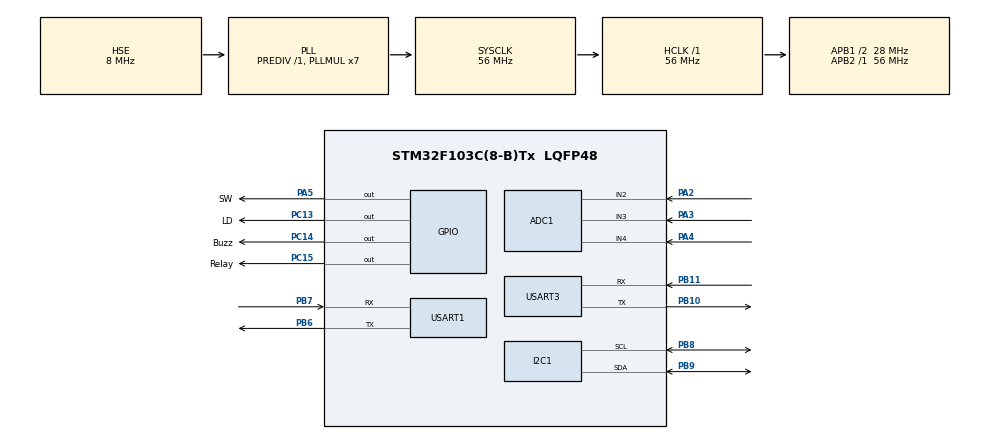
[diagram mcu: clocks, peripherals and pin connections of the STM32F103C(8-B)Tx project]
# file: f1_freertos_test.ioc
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ADC1.Channel-10\#ChannelRegularConversion=ADC_CHANNEL_4
ADC1.Channel-8\#ChannelRegularConversion=ADC_CHANNEL_2
ADC1.Channel-9\#ChannelRegularConversion=ADC_CHANNEL_3
ADC1.NbrOfConversion=3
ADC1.NbrOfConversionFlag=1
ADC1.Rank-10\#ChannelRegularConversion=3
ADC1.Rank-8\#ChannelRegularConversion=1
ADC1.Rank-9\#ChannelRegularConversion=2
ADC1.SamplingTime-10\#ChannelRegularConversion=ADC_SAMPLETIME_1CYCLE_5
ADC1.SamplingTime-8\#ChannelRegularConversion=ADC_SAMPLETIME_1CYCLE_5
ADC1.SamplingTime-9\#ChannelRegularConversion=ADC_SAMPLETIME_1CYCLE_5
ADC1.master=1
Dma.ADC1.0.Direction=DMA_PERIPH_TO_MEMORY
Dma.ADC1.0.Instance=DMA1_Channel1
Dma.ADC1.0.MemDataAlignment=DMA_MDATAALIGN_HALFWORD
Dma.ADC1.0.MemInc=DMA_MINC_ENABLE
Dma.ADC1.0.Mode=DMA_CIRCULAR
Dma.ADC1.0.PeriphDataAlignment=DMA_PDATAALIGN_HALFWORD
Dma.ADC1.0.PeriphInc=DMA_PINC_DISABLE
Dma.ADC1.0.Priority=DMA_PRIORITY_LOW
Dma.Request0=ADC1
FREERTOS.HEAP_NUMBER=3
FREERTOS.Queues01=Queue_Temp_ESP,16,uint16_t,0,Dynamic,NULL,NULL;Queue_Temp_OLED,16,uint16_t,0,Dynamic,NULL,NULL;Queue_Volt_ESP,16,uint16_t,0,Dynamic,NULL,NULL;Queue_Volt_OLED,16,uint16_t,0,Dynamic,NULL,NULL;Queue_Volt_Actuator,16,uint16_t,0,Dynamic,NULL,NULL;Queue_Curr_ESP,16,uint16_t,0,Dynamic,NULL,NULL;Queue_Curr_OLED,16,uint16_t,0,Dynamic,NULL,NULL
FREERTOS.Tasks01=ActuatorTask,0,128,Actuator_Task,Default,NULL,Dynamic,NULL,NULL;TxtoESPTask,0,128,Tx_toESP_Task,Default,NULL,Dynamic,NULL,NULL;getBattTask,0,128,getBatt_info_Task,Default,NULL,Dynamic,NULL,NULL;SwitchTask,0,128,Switch_Task,Default,NULL,Dynamic,NULL,NULL;OLEDTask,0,128,OLED_Task,Default,NULL,Dynamic,NULL,NULL
FREERTOS.configTOTAL_HEAP_SIZE=3072*2
FREERTOS.configUSE_NEWLIB_REENTRANT=1
FREERTOS.configUSE_PREEMPTION=1
Mcu.Family=STM32F1
Mcu.Name=STM32F103C(8-B)Tx
Mcu.Package=LQFP48
NVIC.DMA1_Channel1_IRQn=true\:5\:0\:false\:false\:true\:true\:false\:true\:true
NVIC.PriorityGroup=NVIC_PRIORITYGROUP_4
NVIC.USART1_IRQn=true\:5\:0\:false\:false\:true\:true\:true\:false\:true
NVIC.USART3_IRQn=true\:5\:0\:false\:false\:true\:true\:true\:true\:true
PA13.Mode=Serial_Wire
PA13.Signal=SYS_JTMS-SWDIO
PA14.Mode=Serial_Wire
PA14.Signal=SYS_JTCK-SWCLK
PA2.Signal=ADCx_IN2
PA3.Signal=ADCx_IN3
PA4.Signal=ADCx_IN4
PA5.GPIO_Label=SW
PA5.Signal=GPIO_Output
PB10.Mode=Asynchronous
PB10.Signal=USART3_TX
PB11.Mode=Asynchronous
PB11.Signal=USART3_RX
PB6.Mode=Asynchronous
PB6.Signal=USART1_TX
PB7.Mode=Asynchronous
PB7.Signal=USART1_RX
PB8.Mode=I2C
PB8.Signal=I2C1_SCL
PB9.Mode=I2C
PB9.Signal=I2C1_SDA
PC13-TAMPER-RTC.GPIO_Label=LD
PC13-TAMPER-RTC.Signal=GPIO_Output
PC14-OSC32_IN.GPIO_Label=Buzz
PC14-OSC32_IN.Signal=GPIO_Output
PC15-OSC32_OUT.GPIO_Label=Relay
PC15-OSC32_OUT.Signal=GPIO_Output
PD0-OSC_IN.Mode=HSE-External-Oscillator
PD0-OSC_IN.Signal=RCC_OSC_IN
PD1-OSC_OUT.Mode=HSE-External-Oscillator
PD1-OSC_OUT.Signal=RCC_OSC_OUT
ProjectManager.HeapSize=0x200
ProjectManager.StackSize=0x400
ProjectManager.TargetToolchain=STM32CubeIDE
RCC.ADCPresc=RCC_ADCPCLK2_DIV4
RCC.AHBFreq_Value=56000000
RCC.APB1CLKDivider=RCC_HCLK_DIV2
RCC.APB1Freq_Value=28000000
RCC.APB1TimFreq_Value=56000000
RCC.APB2Freq_Value=56000000
RCC.APB2TimFreq_Value=56000000
RCC.HCLKFreq_Value=56000000
RCC.PLLMUL=RCC_PLL_MUL7
RCC.PLLSourceVirtual=RCC_PLLSOURCE_HSE
RCC.SYSCLKFreq_VALUE=56000000
RCC.SYSCLKSource=RCC_SYSCLKSOURCE_PLLCLK
RCC.USBFreq_Value=56000000
SH.ADCx_IN2.0=ADC1_IN2,IN2
SH.ADCx_IN3.0=ADC1_IN3,IN3
SH.ADCx_IN4.0=ADC1_IN4,IN4
USART1.VirtualMode=VM_ASYNC
USART3.VirtualMode=VM_ASYNC
VP_FREERTOS_VS_CMSIS_V1.Mode=CMSIS_V1
board=custom

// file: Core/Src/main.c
/* USER CODE BEGIN Header */
/**
  ******************************************************************************
  * @file           : main.c
  * @brief          : Main program body
  ******************************************************************************
  * @attention
  *
  * Copyright (c) 2024 STMicroelectronics.
  * All rights reserved.
  *
  * This software is licensed under terms that can be found in the LICENSE file
  * in the root directory of this software component.
  * If no LICENSE file comes with this software, it is provided AS-IS.
  *
  ******************************************************************************
  */
/* USER CODE END Header */
#include "main.h"
#include "cmsis_os.h"

/* USER CODE BEGIN PM */
/* R1 resistance */
#define NTC_UP_R 12000.0f

/* constants of Steinhart-Hart equation */
#define A 0.0009053128946f
#define B 0.0002531319168f
#define C 0.0000001500959159f

#define ratio_VSS  0.1885964912f

/* USER CODE END PM */

ADC_HandleTypeDef hadc1;
DMA_HandleTypeDef hdma_adc1;

I2C_HandleTypeDef hi2c1;

UART_HandleTypeDef huart3;

osThreadId ActuatorTaskHandle;
osThreadId TxtoESPTaskHandle;
osThreadId getBattTaskHandle;
osThreadId SwitchTaskHandle;
osThreadId OLEDTaskHandle;
osMessageQId Queue_Temp_ESPHandle;
osMessageQId Queue_Temp_OLEDHandle;
osMessageQId Queue_Volt_ESPHandle;
osMessageQId Queue_Volt_OLEDHandle;
osMessageQId Queue_Volt_ActuatorHandle;
osMessageQId Queue_Curr_ESPHandle;
osMessageQId Queue_Curr_OLEDHandle;
/* USER CODE BEGIN PV */

/********************************************* ntc vars *******************************************/
float NTC_temp;
uint16_t Ntc_R;
float get_NTC_temp (uint32_t variable)
{
	/* calc. ntc resistance */
	Ntc_R = ((NTC_UP_R)/((4095.0/variable) - 1));

	/* temp */
	float Ntc_Ln = log(Ntc_R);
	/* calc. temperature */
	return ((1.0/(A + B*Ntc_Ln + C*Ntc_Ln*Ntc_Ln*Ntc_Ln)) - 273.15);
}
/**************************************************************************************************/

/* USER CODE END PV */

void SystemClock_Config(void);
static void MX_GPIO_Init(void);
static void MX_DMA_Init(void);
static void MX_USART1_UART_Init(void);
static void MX_USART3_UART_Init(void);
static void MX_ADC1_Init(void);
static void MX_I2C1_Init(void);
void Actuator_Task(void const * argument);
void Tx_toESP_Task(void const * argument);
void getBatt_info_Task(void const * argument);
void Switch_Task(void const * argument);
void OLED_Task(void const * argument);

/* USER CODE BEGIN 0 */
#define NUM_CHANNELS 3
#define ADC_BUFFER_SIZE NUM_CHANNELS
uint16_t adc_value[ADC_BUFFER_SIZE];  // to store the adc values

#define MAX_RxLEN 128
#define MAX_TxLEN 8
uint8_t nRxData[MAX_RxLEN];
static uint8_t nTxData[MAX_TxLEN];
uint8_t Rx_buf_write_index = 0;

uint8_t nRxData3[3];

static uint8_t Tx_STX[]={0x02U};
static uint8_t Tx_ETX[]={0x03U};

static char rx_char;

static uint8_t Rx_ONRL[]={0x55U,0x01U,0xAAU};
static uint8_t Rx_OFRL[]={0x55U,0x00U,0xAAU};

//static uint8_t   ONRL[]={0x01};
//static uint8_t   OFRL[]={0x00};
bool Relay_ON_cmd = false;

static bool WriteComm(uint8_t *pBuff, uint8_t nSize)
{
	return HAL_UART_Transmit(&huart3, pBuff, nSize, 1);
}

//static bool ReadComm(uint8_t *pBuff, uint8_t nSize)
//{
//	if ((pBuff[0] == Rx_STX[0]) && (pBuff[2] == Rx_ETX[0]))
//	{
//		if (pBuff[1] == ONRL[0])
//			Relay_ON_cmd = false;
//		else if (pBuff[1] == OFRL[0])
//			Relay_ON_cmd = true;
//
//		return true;
//	}
//	else
//		return false;
//}

void HAL_UART_RxCpltCallback(UART_HandleTypeDef *huart)
{
	if (huart->Instance == huart3.Instance)
	{
//		  nRxData[Rx_buf_write_index] = rx_char;

//		  if (nRxData[Rx_buf_write_index] == Rx_ETX[0] || nRxData[Rx_buf_write_index-2] == Rx_STX[0] )
//			  if (nRxData[Rx_buf_write_index-1] == ONRL[1])
//				  Relay_ON_cmd = true;
//			  else if (nRxData[Rx_buf_write_index-1] == OFRL[1])
//				  Relay_ON_cmd = false;

//		  Rx_buf_write_index ++;
//		  Rx_buf_write_index = Rx_buf_write_index % MAX_RxLEN;

//		HAL_UART_Receive_IT(&huart3, (uint8_t *)nRxData, 3);

//				  if (memcmp(nRxData3,Rx_OFRL,3) == 1)
//					  Relay_ON_cmd = false;
//				  else if (memcmp(nRxData3,Rx_ONRL,3)==1)
//					  Relay_ON_cmd = true;

				  if (nRxData3[0] == Rx_OFRL[0] &&
					  nRxData3[1] == Rx_OFRL[1] &&
					  nRxData3[2] == Rx_OFRL[2])
					  Relay_ON_cmd = false;
				  else if (nRxData3[0] == Rx_ONRL[0] &&
					  nRxData3[1] == Rx_ONRL[1] &&
					  nRxData3[2] == Rx_ONRL[2])
					  Relay_ON_cmd = true;
	}
}

/* USER CODE END 0 */

int main(void)
{

  /* MCU Configuration--------------------------------------------------------*/

  /* Reset of all peripherals, Initializes the Flash interface and the Systick. */
  HAL_Init();

  /* Configure the system clock */
  SystemClock_Config();

  /* Initialize all configured peripherals */
  MX_GPIO_Init();
  MX_DMA_Init();
  MX_USART1_UART_Init();
  MX_USART3_UART_Init();
  MX_ADC1_Init();
  MX_I2C1_Init();
  /* USER CODE BEGIN 2 */
  ssd1306_Init();
  display_Bat_InitInfo();

  UARTStdioConfig(USART1,USART1_IRQn, true);
  UARTprintf("***UARTprintf configured***\n");

//  HAL_ADC_Start_DMA(&hadc1, adc_value, NUM_CHANNELS);

  HAL_GPIO_WritePin(Relay_GPIO_Port, Relay_Pin, 0);
  HAL_GPIO_WritePin(LD_GPIO_Port, LD_Pin, 0);
  HAL_GPIO_WritePin(Buzz_GPIO_Port, Buzz_Pin, 0);

  HAL_UART_Receive_IT(&huart3, (uint8_t *)nRxData, 3);

  /* USER CODE END 2 */

  /* Create the queue(s) */
  /* definition and creation of Queue_Temp_ESP */
  osMessageQDef(Queue_Temp_ESP, 16, uint16_t);
  Queue_Temp_ESPHandle = osMessageCreate(osMessageQ(Queue_Temp_ESP), NULL);

  /* definition and creation of Queue_Temp_OLED */
  osMessageQDef(Queue_Temp_OLED, 16, uint16_t);
  Queue_Temp_OLEDHandle = osMessageCreate(osMessageQ(Queue_Temp_OLED), NULL);

  /* definition and creation of Queue_Volt_ESP */
  osMessageQDef(Queue_Volt_ESP, 16, uint16_t);
  Queue_Volt_ESPHandle = osMessageCreate(osMessageQ(Queue_Volt_ESP), NULL);

  /* definition and creation of Queue_Volt_OLED */
  osMessageQDef(Queue_Volt_OLED, 16, uint16_t);
  Queue_Volt_OLEDHandle = osMessageCreate(osMessageQ(Queue_Volt_OLED), NULL);

  /* definition and creation of Queue_Volt_Actuator */
  osMessageQDef(Queue_Volt_Actuator, 16, uint16_t);
  Queue_Volt_ActuatorHandle = osMessageCreate(osMessageQ(Queue_Volt_Actuator), NULL);

  /* definition and creation of Queue_Curr_ESP */
  osMessageQDef(Queue_Curr_ESP, 16, uint16_t);
  Queue_Curr_ESPHandle = osMessageCreate(osMessageQ(Queue_Curr_ESP), NULL);

  /* definition and creation of Queue_Curr_OLED */
  osMessageQDef(Queue_Curr_OLED, 16, uint16_t);
  Queue_Curr_OLEDHandle = osMessageCreate(osMessageQ(Queue_Curr_OLED), NULL);

  /* Create the thread(s) */
  /* definition and creation of ActuatorTask */
  osThreadDef(ActuatorTask, Actuator_Task, osPriorityNormal, 0, 128);
  ActuatorTaskHandle = osThreadCreate(osThread(ActuatorTask), NULL);

  /* definition and creation of TxtoESPTask */
  osThreadDef(TxtoESPTask, Tx_toESP_Task, osPriorityNormal, 0, 128);
  TxtoESPTaskHandle = osThreadCreate(osThread(TxtoESPTask), NULL);

  /* definition and creation of getBattTask */
  osThreadDef(getBattTask, getBatt_info_Task, osPriorityNormal, 0, 128);
  getBattTaskHandle = osThreadCreate(osThread(getBattTask), NULL);

  /* definition and creation of SwitchTask */
  osThreadDef(SwitchTask, Switch_Task, osPriorityNormal, 0, 128);
  SwitchTaskHandle = osThreadCreate(osThread(SwitchTask), NULL);

  /* definition and creation of OLEDTask */
  osThreadDef(OLEDTask, OLED_Task, osPriorityNormal, 0, 128);
  OLEDTaskHandle = osThreadCreate(osThread(OLEDTask), NULL);

  /* Start scheduler */
  osKernelStart();

  /* We should never get here as control is now taken by the scheduler */

  /* Infinite loop */
  while (1)
  {

  }
}

void SystemClock_Config(void)
{
  RCC_OscInitTypeDef RCC_OscInitStruct = {0};
  RCC_ClkInitTypeDef RCC_ClkInitStruct = {0};
  RCC_PeriphCLKInitTypeDef PeriphClkInit = {0};

  /** Initializes the RCC Oscillators according to the specified parameters
  * in the RCC_OscInitTypeDef structure.
  */
  RCC_OscInitStruct.OscillatorType = RCC_OSCILLATORTYPE_HSE;
  RCC_OscInitStruct.HSEState = RCC_HSE_ON;
  RCC_OscInitStruct.HSEPredivValue = RCC_HSE_PREDIV_DIV1;
  RCC_OscInitStruct.HSIState = RCC_HSI_ON;
  RCC_OscInitStruct.PLL.PLLState = RCC_PLL_ON;
  RCC_OscInitStruct.PLL.PLLSource = RCC_PLLSOURCE_HSE;
  RCC_OscInitStruct.PLL.PLLMUL = RCC_PLL_MUL7;
  if (HAL_RCC_OscConfig(&RCC_OscInitStruct) != HAL_OK)
  {
    Error_Handler();
  }

  /** Initializes the CPU, AHB and APB buses clocks
  */
  RCC_ClkInitStruct.ClockType = RCC_CLOCKTYPE_HCLK|RCC_CLOCKTYPE_SYSCLK
                              |RCC_CLOCKTYPE_PCLK1|RCC_CLOCKTYPE_PCLK2;
  RCC_ClkInitStruct.SYSCLKSource = RCC_SYSCLKSOURCE_PLLCLK;
  RCC_ClkInitStruct.AHBCLKDivider = RCC_SYSCLK_DIV1;
  RCC_ClkInitStruct.APB1CLKDivider = RCC_HCLK_DIV2;
  RCC_ClkInitStruct.APB2CLKDivider = RCC_HCLK_DIV1;

  if (HAL_RCC_ClockConfig(&RCC_ClkInitStruct, FLASH_LATENCY_2) != HAL_OK)
  {
    Error_Handler();
  }
  PeriphClkInit.PeriphClockSelection = RCC_PERIPHCLK_ADC;
  PeriphClkInit.AdcClockSelection = RCC_ADCPCLK2_DIV4;
  if (HAL_RCCEx_PeriphCLKConfig(&PeriphClkInit) != HAL_OK)
  {
    Error_Handler();
  }
}

static void MX_ADC1_Init(void)
{

  ADC_ChannelConfTypeDef sConfig = {0};

  /** Common config
  */
  hadc1.Instance = ADC1;
  hadc1.Init.ScanConvMode = ADC_SCAN_ENABLE;
  hadc1.Init.ContinuousConvMode = DISABLE;
  hadc1.Init.DiscontinuousConvMode = DISABLE;
  hadc1.Init.ExternalTrigConv = ADC_SOFTWARE_START;
  hadc1.Init.DataAlign = ADC_DATAALIGN_RIGHT;
  hadc1.Init.NbrOfConversion = 3;
  if (HAL_ADC_Init(&hadc1) != HAL_OK)
  {
    Error_Handler();
  }

  /** Configure Regular Channel
  */
  sConfig.Channel = ADC_CHANNEL_2;
  sConfig.Rank = ADC_REGULAR_RANK_1;
  sConfig.SamplingTime = ADC_SAMPLETIME_1CYCLE_5;
  if (HAL_ADC_ConfigChannel(&hadc1, &sConfig) != HAL_OK)
  {
    Error_Handler();
  }

  /** Configure Regular Channel
  */
  sConfig.Channel = ADC_CHANNEL_3;
  sConfig.Rank = ADC_REGULAR_RANK_2;
  if (HAL_ADC_ConfigChannel(&hadc1, &sConfig) != HAL_OK)
  {
    Error_Handler();
  }

  /** Configure Regular Channel
  */
  sConfig.Channel = ADC_CHANNEL_4;
  sConfig.Rank = ADC_REGULAR_RANK_3;
  if (HAL_ADC_ConfigChannel(&hadc1, &sConfig) != HAL_OK)
  {
    Error_Handler();
  }

}

static void MX_I2C1_Init(void)
{

  hi2c1.Instance = I2C1;
  hi2c1.Init.ClockSpeed = 100000;
  hi2c1.Init.DutyCycle = I2C_DUTYCYCLE_2;
  hi2c1.Init.OwnAddress1 = 0;
  hi2c1.Init.AddressingMode = I2C_ADDRESSINGMODE_7BIT;
  hi2c1.Init.DualAddressMode = I2C_DUALADDRESS_DISABLE;
  hi2c1.Init.OwnAddress2 = 0;
  hi2c1.Init.GeneralCallMode = I2C_GENERALCALL_DISABLE;
  hi2c1.Init.NoStretchMode = I2C_NOSTRETCH_DISABLE;
  if (HAL_I2C_Init(&hi2c1) != HAL_OK)
  {
    Error_Handler();
  }

}

static void MX_USART1_UART_Init(void)
{

  LL_USART_InitTypeDef USART_InitStruct = {0};

  LL_GPIO_InitTypeDef GPIO_InitStruct = {0};

  /* Peripheral clock enable */
  LL_APB2_GRP1_EnableClock(LL_APB2_GRP1_PERIPH_USART1);

  LL_APB2_GRP1_EnableClock(LL_APB2_GRP1_PERIPH_GPIOB);
  /**USART1 GPIO Configuration
  PB6   ------> USART1_TX
  PB7   ------> USART1_RX
  */
  GPIO_InitStruct.Pin = LL_GPIO_PIN_6;
  GPIO_InitStruct.Mode = LL_GPIO_MODE_ALTERNATE;
  GPIO_InitStruct.Speed = LL_GPIO_SPEED_FREQ_HIGH;
  GPIO_InitStruct.OutputType = LL_GPIO_OUTPUT_PUSHPULL;
  LL_GPIO_Init(GPIOB, &GPIO_InitStruct);

  GPIO_InitStruct.Pin = LL_GPIO_PIN_7;
  GPIO_InitStruct.Mode = LL_GPIO_MODE_FLOATING;
  LL_GPIO_Init(GPIOB, &GPIO_InitStruct);

  LL_GPIO_AF_EnableRemap_USART1();

  /* USART1 interrupt Init */
  NVIC_SetPriority(USART1_IRQn, NVIC_EncodePriority(NVIC_GetPriorityGrouping(),5, 0));
  NVIC_EnableIRQ(USART1_IRQn);

  USART_InitStruct.BaudRate = 115200;
  USART_InitStruct.DataWidth = LL_USART_DATAWIDTH_8B;
  USART_InitStruct.StopBits = LL_USART_STOPBITS_1;
  USART_InitStruct.Parity = LL_USART_PARITY_NONE;
  USART_InitStruct.TransferDirection = LL_USART_DIRECTION_TX_RX;
  USART_InitStruct.HardwareFlowControl = LL_USART_HWCONTROL_NONE;
  USART_InitStruct.OverSampling = LL_USART_OVERSAMPLING_16;
  LL_USART_Init(USART1, &USART_InitStruct);
  LL_USART_ConfigAsyncMode(USART1);
  LL_USART_Enable(USART1);

}

static void MX_USART3_UART_Init(void)
{

  huart3.Instance = USART3;
  huart3.Init.BaudRate = 115200;
  huart3.Init.WordLength = UART_WORDLENGTH_8B;
  huart3.Init.StopBits = UART_STOPBITS_1;
  huart3.Init.Parity = UART_PARITY_NONE;
  huart3.Init.Mode = UART_MODE_TX_RX;
  huart3.Init.HwFlowCtl = UART_HWCONTROL_NONE;
  huart3.Init.OverSampling = UART_OVERSAMPLING_16;
  if (HAL_UART_Init(&huart3) != HAL_OK)
  {
    Error_Handler();
  }

}

static void MX_DMA_Init(void)
{

  /* DMA controller clock enable */
  __HAL_RCC_DMA1_CLK_ENABLE();

  /* DMA interrupt init */
  /* DMA1_Channel1_IRQn interrupt configuration */
  HAL_NVIC_SetPriority(DMA1_Channel1_IRQn, 5, 0);
  HAL_NVIC_EnableIRQ(DMA1_Channel1_IRQn);

}

static void MX_GPIO_Init(void)
{
  GPIO_InitTypeDef GPIO_InitStruct = {0};

  /* GPIO Ports Clock Enable */
  __HAL_RCC_GPIOC_CLK_ENABLE();
  __HAL_RCC_GPIOD_CLK_ENABLE();
  __HAL_RCC_GPIOA_CLK_ENABLE();
  __HAL_RCC_GPIOB_CLK_ENABLE();

  /*Configure GPIO pin Output Level */
  HAL_GPIO_WritePin(GPIOC, LD_Pin|Buzz_Pin|Relay_Pin, GPIO_PIN_RESET);

  /*Configure GPIO pin Output Level */
  HAL_GPIO_WritePin(SW_GPIO_Port, SW_Pin, GPIO_PIN_RESET);

  /*Configure GPIO pins : LD_Pin Buzz_Pin Relay_Pin */
  GPIO_InitStruct.Pin = LD_Pin|Buzz_Pin|Relay_Pin;
  GPIO_InitStruct.Mode = GPIO_MODE_OUTPUT_PP;
  GPIO_InitStruct.Pull = GPIO_NOPULL;
  GPIO_InitStruct.Speed = GPIO_SPEED_FREQ_LOW;
  HAL_GPIO_Init(GPIOC, &GPIO_InitStruct);

  /*Configure GPIO pin : SW_Pin */
  GPIO_InitStruct.Pin = SW_Pin;
  GPIO_InitStruct.Mode = GPIO_MODE_OUTPUT_PP;
  GPIO_InitStruct.Pull = GPIO_NOPULL;
  GPIO_InitStruct.Speed = GPIO_SPEED_FREQ_LOW;
  HAL_GPIO_Init(SW_GPIO_Port, &GPIO_InitStruct);

}

void Actuator_Task(void const * argument)
{
  /* USER CODE BEGIN 5 */
  /* Infinite loop */
  for(;;)
  {
	  HAL_GPIO_WritePin(LD_GPIO_Port, LD_Pin, 0);
	  HAL_GPIO_WritePin(Buzz_GPIO_Port, Buzz_Pin, 0);

//	  HAL_UART_Receive_IT(&huart3, &rx_char, 1);

//	  if (HAL_UART_Receive_IT(&huart3, &nRxData[Rx_buf_write_index], 3)==HAL_OK)
//		  Rx_buf_write_index = (Rx_buf_write_index + 3) % MAX_RxLEN;

//	  if (HAL_UART_Receive(&huart3, nRxData3, 3, 5)==HAL_OK)
//		  if (memcmp(nRxData3,Rx_OFRL,3) == 1)
//			  Relay_ON_cmd = false;
//		  else if (memcmp(nRxData3,Rx_ONRL,3)==1)
//			  Relay_ON_cmd = true;

	  HAL_UART_Receive_IT(&huart3, (uint8_t *)nRxData3, 3);

	  uint16_t Volt;
		xQueueReceive(Queue_Volt_ActuatorHandle, &Volt, 3); //get volt
		if (Volt < 1024)
		{
			HAL_GPIO_TogglePin(LD_GPIO_Port, LD_Pin);
			HAL_GPIO_WritePin(Buzz_GPIO_Port, Buzz_Pin, 1);
			HAL_GPIO_WritePin(Relay_GPIO_Port, Relay_Pin, 0);
			UARTprintf("Actuator_Task: LOW POWER !!!\n");
		}
		else if (Relay_ON_cmd){
			HAL_GPIO_WritePin(Relay_GPIO_Port, Relay_Pin, 1);
			UARTprintf("Actuator_Task: Relay ON\n");
		}
		else{
			HAL_GPIO_WritePin(Relay_GPIO_Port, Relay_Pin, 0);
			UARTprintf("Actuator_Task: Relay OFF\n");
		}

//	  HAL_GPIO_WritePin(Relay_GPIO_Port, Relay_Pin, 1);

		osDelay(50);
  }
  /* USER CODE END 5 */
}

void Tx_toESP_Task(void const * argument)
{
  /* USER CODE BEGIN Tx_toESP_Task */
  /* Infinite loop */
  for(;;)
  {
		nTxData[0] = Tx_STX[0];
		uint16_t Temp;
		xQueueReceive(Queue_Temp_ESPHandle, &Temp, 3);
		nTxData[1] = (Temp>>8)&(0xFF);
		nTxData[2] = (Temp>>0)&(0xFF);

		uint16_t Volt;
		xQueueReceive(Queue_Volt_ESPHandle, &Volt, 3);
		nTxData[3] = (Volt>>8)&(0xFF);
		nTxData[4] = (Volt>>0)&(0xFF);

		uint16_t Curr;
		xQueueReceive(Queue_Curr_ESPHandle, &Curr, 3);
		nTxData[5] = (Curr>>8)&(0xFF);
		nTxData[6] = (Curr>>0)&(0xFF);

		nTxData[7] = Tx_ETX[0];

		taskENTER_CRITICAL();
		WriteComm(nTxData, MAX_TxLEN);
		taskEXIT_CRITICAL();

    osDelay(50);
  }
  /* USER CODE END Tx_toESP_Task */
}

void getBatt_info_Task(void const * argument)
{
  /* USER CODE BEGIN getBatt_info_Task */
  /* Infinite loop */
  for(;;)
  {
		while (HAL_ADC_Start_DMA(&hadc1, adc_value, NUM_CHANNELS)!=HAL_OK);
//		UARTprintf("ADC_Task: Got Temp.s\n");

		xQueueSend(Queue_Temp_ESPHandle, &adc_value[0], 3);
		xQueueSend(Queue_Volt_ESPHandle, &adc_value[1], 3);
		xQueueSend(Queue_Curr_ESPHandle, &adc_value[2], 3);

		xQueueSend(Queue_Temp_OLEDHandle, &adc_value[0], 3);
		xQueueSend(Queue_Volt_OLEDHandle, &adc_value[1], 3);
		xQueueSend(Queue_Curr_OLEDHandle, &adc_value[2], 3);

		xQueueSend(Queue_Volt_ActuatorHandle, &adc_value[1], 3);

    osDelay(200);
  }
  /* USER CODE END getBatt_info_Task */
}

void Switch_Task(void const * argument)
{
  /* USER CODE BEGIN Switch_Task */
  /* Infinite loop */
  for(;;)
  {
		if (HAL_GPIO_ReadPin(SW_GPIO_Port, SW_Pin)==1) {
			UARTprintf("SW_Task: Button Pressed\n");
//			HAL_GPIO_TogglePin(Relay_GPIO_Port, Relay_Pin);
		}
		else {
			UARTprintf("SW_Task: Button Released\n");
		}
    osDelay(50);
  }
  /* USER CODE END Switch_Task */
}

void OLED_Task(void const * argument)
{
  /* USER CODE BEGIN OLED_Task */

	float Temp_val;
	float Volt_val;
	float Curr_val;
	float Level_val;
	uint16_t Temp;
	uint16_t Volt;
	uint16_t Curr;
	char Temp_str[6];
	char Volt_str[6];
	char Curr_str[6];
	char Level_str[6];
  /* Infinite loop */
  for(;;)
  {

		initBff(Temp_str, 4);
		initBff(Volt_str, 4);
		initBff(Curr_str, 4);
		initBff(Level_str, 4);

		xQueueReceive(Queue_Temp_OLEDHandle, &Temp, 3);//get temp

		xQueueReceive(Queue_Volt_OLEDHandle, &Volt, 3);//get volt

		xQueueReceive(Queue_Curr_OLEDHandle, &Curr, 3);//get current

		Temp_val = get_NTC_temp(Temp);
		gcvt(Temp_val, 4, Temp_str);

		Volt_val = (float)((Volt*3.3/4020.0)/ratio_VSS);
		Volt_val = (Volt_val < 3.0) ? 0 : Volt_val;
		gcvt(Volt_val, 5, Volt_str);

		Level_val = (float)(71.35*((Volt*3.3/4020.0)/ratio_VSS) - 494.9);
		Level_val = (Level_val > 100.0) ? 100.0 : ((Level_val < 0.0) ? 0.00 : Level_val);
		gcvt(Level_val, 6, Level_str);

		Curr_val = (float)((Curr/4020.0*3.3)*4.2083 - 11.022);
//		Curr_val = (float)(Curr/4020.0*3.3);
		Curr_val = (Volt_val ==0) ? 0.0000 : Curr_val;
		gcvt(Curr_val, 5, Curr_str);

//		taskENTER_CRITICAL();
		display_Bat_Info(Level_str, Volt_str, Curr_str, Temp_str);
//		display_Bat_Info("100.0", "8.33", "2.67", "40.7");
//		taskEXIT_CRITICAL();

    osDelay(150);
  }
  /* USER CODE END OLED_Task */
}

void Error_Handler(void)
{
  __disable_irq();
  while (1)
  {
  }
}
